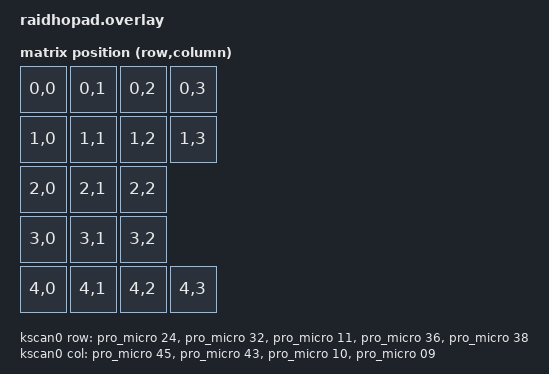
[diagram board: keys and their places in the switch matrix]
/*
 * Copyright (c) 2021 The ZMK Contributors
 *
 * SPDX-License-Identifier: MIT
 */

#include <dt-bindings/zmk/matrix_transform.h>

/ {
    chosen {
        zmk,kscan = &kscan0;
        zmk,matrix_transform = &default_transform;
    };


    default_transform: keymap_transform_0 {
        compatible = "zmk,matrix-transform";
        columns = <4>;
        rows = <5>;

        map = <
            RC(0,0) RC(0,1) RC(0,2) RC(0,3)
            RC(1,0) RC(1,1) RC(1,2) RC(1,3)
            RC(2,0) RC(2,1) RC(2,2)
            RC(3,0) RC(3,1) RC(3,2) 
            RC(4,0) RC(4,1) RC(4,2) RC(4,3)
               
        >;
    };

    kscan0: kscan_0 {
        compatible = "zmk,kscan-gpio-matrix";
        label = "KSCAN";
        diode-direction = "col2row";

       col-gpios
            = <&pro_micro 45 GPIO_ACTIVE_HIGH>
            , <&pro_micro 43 GPIO_ACTIVE_HIGH>
            , <&pro_micro 10 GPIO_ACTIVE_HIGH>
            , <&pro_micro 09 GPIO_ACTIVE_HIGH>
            ;

        row-gpios
            = <&pro_micro 24 (GPIO_ACTIVE_HIGH | GPIO_PULL_DOWN)>
            , <&pro_micro 32 (GPIO_ACTIVE_HIGH | GPIO_PULL_DOWN)>
            , <&pro_micro 11 (GPIO_ACTIVE_HIGH | GPIO_PULL_DOWN)>
            , <&pro_micro 36 (GPIO_ACTIVE_HIGH | GPIO_PULL_DOWN)>
            , <&pro_micro 38 (GPIO_ACTIVE_HIGH | GPIO_PULL_DOWN)>
            ;
    };
};

&pinctrl {
    spi0_default: spi0_default {
        group1 {
            psels = <NRF_PSEL(SPIM_SCK, 0, 20)>,
                <NRF_PSEL(SPIM_MOSI, 0, 17)>,
                <NRF_PSEL(SPIM_MISO, 0, 25)>;
        };
    };
    spi0_sleep: spi0_sleep {
        group1 {
            psels = <NRF_PSEL(SPIM_SCK, 0, 20)>,
                <NRF_PSEL(SPIM_MOSI, 0, 17)>,
                <NRF_PSEL(SPIM_MISO, 0, 25)>;
            low-power-enable;
        };
    };
};

nice_view_spi: &spi0 {
    compatible = "nordic,nrf-spim";
    pinctrl-0 = <&spi0_default>;
    pinctrl-1 = <&spi0_sleep>;
    pinctrl-names = "default", "sleep";
    cs-gpios = <&pro_micro 1 GPIO_ACTIVE_HIGH>;
};

&pro_micro_i2c {
    status = "disabled";
};

&nice_view_spi {
    status = "okay";
    nice_view: ls0xx@0 {
        compatible = "sharp,ls0xx";
        label = "DISPLAY";
        spi-max-frequency = <1000000>;
        reg = <0>;
        width = <160>;
        height = <68>;
    };
};

/ {
    chosen {
        zephyr,display = &nice_view;
    };
};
